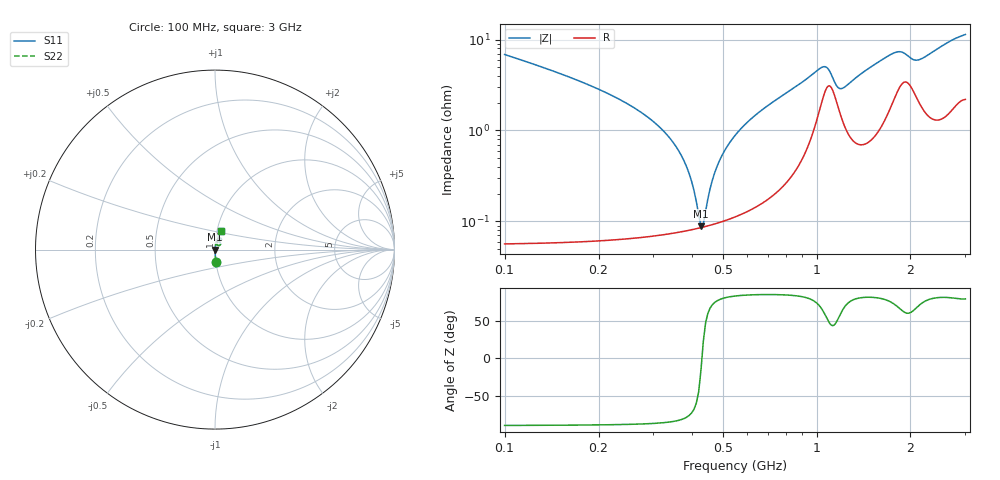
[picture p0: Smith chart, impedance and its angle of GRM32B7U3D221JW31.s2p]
!Murata Part Number: GRM32B7U3D221JW31
!These Parameters are Measured in Series Mode Connection
!Data Generated on Mar 30, 2021
!  o--ll--o
!Port1  Port2
!  o------o
!Operation Temp=25[degC], DC Bias Voltage=0[V]
!Freq. Start=100[MHz] Stop=3[GHz] 401[Steps]
# Hz S RI R 50
!Freq.(Hz) S11(Real) S11(Imag) S21(Real) S21(Imag) S12(Real) S12(Imag) S22(Real) S22(Imag)
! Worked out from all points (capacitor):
!   401 points, 100 MHz to 3 GHz, reference 50 ohm
!   read as one part in series: C = 219 pF near 114.5 MHz
!   lowest |Z| = 88.4 mohm at 426.2 MHz (marker M1)
!   series resonance near 429.1 MHz, so ESL is about 630 pH
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1e8  0.00523 -0.0681  0.9948 0.0681  0.9948 0.0681  0.00523 -0.0681
2.74e8  0.000913 -0.0158  0.9991 0.0158  0.9991 0.0158  0.000913 -0.0158
3.3925e8  0.000796 -0.00812  0.9992 0.00812  0.9992 0.00812  0.000796 -0.00812
3.8275e8  0.000802 -0.00394  0.9992 0.00394  0.9992 0.00394  0.000802 -0.00394
4.19e8  0.000841 -0.000822  0.9992 0.000822  0.9992 0.000822  0.000841 -0.000822
4.2625e8  0.000853 -0.000229  0.9991 0.000229  0.9991 0.000229  0.000853 -0.000229
4.4075e8  0.000878 0.000931  0.9991 -0.000931  0.9991 -0.000931  0.000878 0.000931
4.625e8  0.000925 0.00261  0.9991 -0.00261  0.9991 -0.00261  0.000925 0.00261
4.915e8  0.001 0.00476  0.999 -0.00476  0.999 -0.00476  0.001 0.00476
5.35e8  0.00114 0.00784  0.9989 -0.00784  0.9989 -0.00784  0.00114 0.00784
5.8575e8  0.00136 0.0113  0.9986 -0.0113  0.9986 -0.0113  0.00136 0.0113
7.67e8  0.00282 0.0233  0.9972 -0.0233  0.9972 -0.0233  0.00282 0.0233
1.0135e9  0.0167 0.043  0.9833 -0.043  0.9833 -0.043  0.0167 0.043
1.0715e9  0.029 0.0389  0.971 -0.0389  0.971 -0.0389  0.029 0.0389
1.1585e9  0.0208 0.0223  0.9792 -0.0223  0.9792 -0.0223  0.0208 0.0223
1.19475e9  0.0151 0.0241  0.9849 -0.0241  0.9849 -0.0241  0.0151 0.0241
1.55e9  0.0117 0.0526  0.9883 -0.0526  0.9883 -0.0526  0.0117 0.0526
1.81825e9  0.0305 0.0644  0.9695 -0.0644  0.9695 -0.0644  0.0305 0.0644
2.03575e9  0.0296 0.0508  0.9704 -0.0508  0.9704 -0.0508  0.0296 0.0508
2.159e9  0.0215 0.0558  0.9785 -0.0558  0.9785 -0.0558  0.0215 0.0558
2.5215e9  0.0199 0.0811  0.9801 -0.0811  0.9801 -0.0811  0.0199 0.0811
3e9  0.0331 0.1057  0.9669 -0.1057  0.9669 -0.1057  0.0331 0.1057
